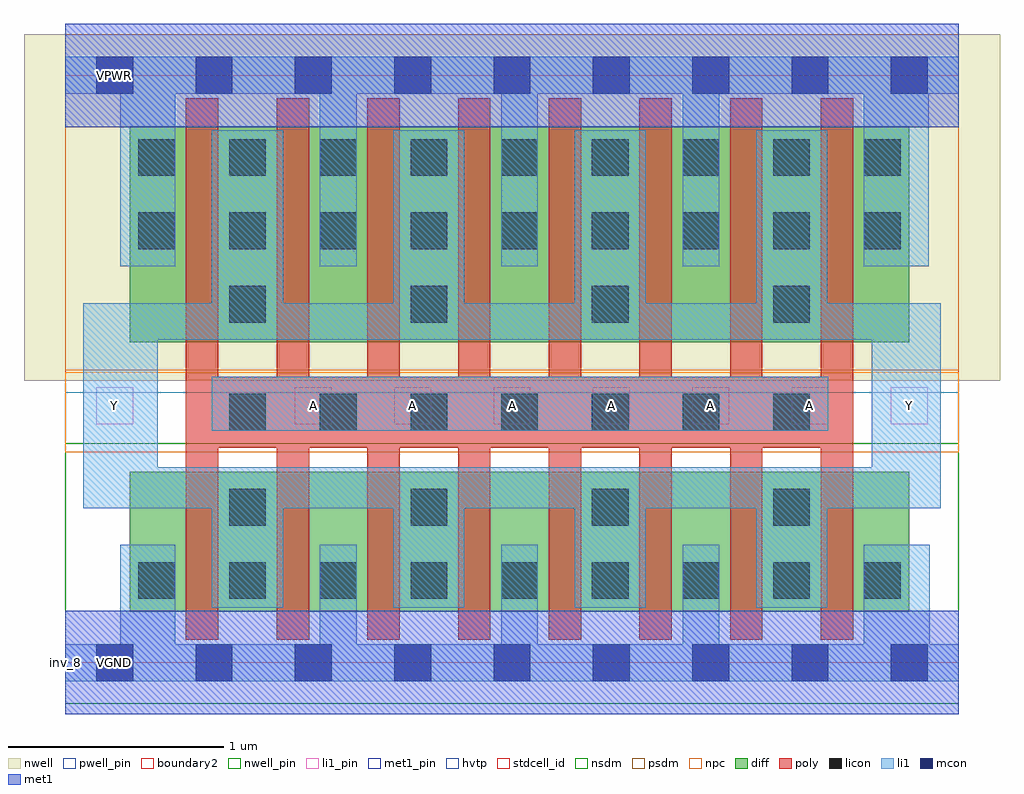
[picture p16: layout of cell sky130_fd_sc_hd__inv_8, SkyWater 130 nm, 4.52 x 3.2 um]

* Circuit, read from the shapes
.subckt sky130_fd_sc_hd__inv_8 A VGND VNB VPB VPWR Y
XM1 Y A VGND VNB sky130_fd_pr__nfet_01v8 w=0.65 l=0.15 m=8
XM2 Y A VPWR VPB sky130_fd_pr__pfet_01v8_hvt w=1 l=0.15 m=8
.ends

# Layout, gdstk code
import gdstk
lib = gdstk.Library(unit=1e-6, precision=1e-09)
def R(c, l, rs):  # rectangles x0, y0, x1, y1
    for r in rs: c.add(gdstk.rectangle(r[:2], r[2:], *l))
def P(c, l, *ps):  # polygons
    for p in ps: c.add(gdstk.Polygon(p, *l))
nwell_pin = (64, 16)
nwell = (64, 20)
diff = (65, 20)
poly = (66, 20)
licon = (66, 44)
li1_pin = (67, 16)
li1 = (67, 20)
mcon = (67, 44)
met1_pin = (68, 16)
met1 = (68, 20)
hvtp = (78, 44)
stdcell_id = (81, 4)
nsdm = (93, 44)
psdm = (94, 20)
npc = (95, 20)
pwell_pin = (122, 16)
boundary2 = (236, 0)

sky130_fd_sc_hd__inv_8 = lib.new_cell('sky130_fd_sc_hd__inv_8')
R(sky130_fd_sc_hd__inv_8, nwell_pin, [(0.145,2.635,0.315,2.805), (0.145,2.635,0.315,2.805)])
R(sky130_fd_sc_hd__inv_8, nwell, [(-0.19,1.305,4.33,2.91), (-0.19,1.305,4.33,2.91)])
R(sky130_fd_sc_hd__inv_8, diff, [(0.3,0.235,3.91,0.885), (0.3,0.235,3.91,0.885), (0.3,1.485,3.91,2.485), (0.3,1.485,3.91,2.485)])
P(sky130_fd_sc_hd__inv_8, poly, [(0.56,0.105),(0.56,2.615),(0.71,2.615),(0.71,1.325),(0.98,1.325),(0.98,2.615),(1.13,2.615),(1.13,1.325),(1.4,1.325),(1.4,2.615),(1.55,2.615),(1.55,1.325),(1.82,1.325),(1.82,2.615),(1.97,2.615),(1.97,1.325),(2.24,1.325),(2.24,2.615),(2.39,2.615),(2.39,1.325),(2.66,1.325),(2.66,2.615),(2.81,2.615),(2.81,1.325),(3.08,1.325),(3.08,2.615),(3.23,2.615),(3.23,1.325),(3.5,1.325),(3.5,2.615),(3.65,2.615),(3.65,0.105),(3.5,0.105),(3.5,0.995),(3.23,0.995),(3.23,0.105),(3.08,0.105),(3.08,0.995),(2.81,0.995),(2.81,0.105),(2.66,0.105),(2.66,0.995),(2.39,0.995),(2.39,0.105),(2.24,0.105),(2.24,0.995),(1.97,0.995),(1.97,0.105),(1.82,0.105),(1.82,0.995),(1.55,0.995),(1.55,0.105),(1.4,0.105),(1.4,0.995),(1.13,0.995),(1.13,0.105),(0.98,0.105),(0.98,0.995),(0.71,0.995),(0.71,0.105)],
  [(0.56,0.105),(0.56,2.615),(0.71,2.615),(0.71,1.325),(0.98,1.325),(0.98,2.615),(1.13,2.615),(1.13,1.325),(1.4,1.325),(1.4,2.615),(1.55,2.615),(1.55,1.325),(1.82,1.325),(1.82,2.615),(1.97,2.615),(1.97,1.325),(2.24,1.325),(2.24,2.615),(2.39,2.615),(2.39,1.325),(2.66,1.325),(2.66,2.615),(2.81,2.615),(2.81,1.325),(3.08,1.325),(3.08,2.615),(3.23,2.615),(3.23,1.325),(3.5,1.325),(3.5,2.615),(3.65,2.615),(3.65,0.105),(3.5,0.105),(3.5,0.995),(3.23,0.995),(3.23,0.105),(3.08,0.105),(3.08,0.995),(2.81,0.995),(2.81,0.105),(2.66,0.105),(2.66,0.995),(2.39,0.995),(2.39,0.105),(2.24,0.105),(2.24,0.995),(1.97,0.995),(1.97,0.105),(1.82,0.105),(1.82,0.995),(1.55,0.995),(1.55,0.105),(1.4,0.105),(1.4,0.995),(1.13,0.995),(1.13,0.105),(0.98,0.105),(0.98,0.995),(0.71,0.995),(0.71,0.105)])
R(sky130_fd_sc_hd__inv_8, licon, [(0.34,0.295,0.51,0.465), (0.34,0.295,0.51,0.465), (0.76,0.295,0.93,0.465), (0.76,0.295,0.93,0.465), (1.18,0.295,1.35,0.465), (1.18,0.295,1.35,0.465), (1.6,0.295,1.77,0.465), (1.6,0.295,1.77,0.465), (2.02,0.295,2.19,0.465), (2.02,0.295,2.19,0.465), (2.44,0.295,2.61,0.465), (2.44,0.295,2.61,0.465), (2.86,0.295,3.03,0.465), (2.86,0.295,3.03,0.465), (3.28,0.295,3.45,0.465), (3.28,0.295,3.45,0.465), (3.7,0.295,3.87,0.465), (3.7,0.295,3.87,0.465), (0.76,0.635,0.93,0.805), (0.76,0.635,0.93,0.805), (1.6,0.635,1.77,0.805), (1.6,0.635,1.77,0.805), (2.44,0.635,2.61,0.805), (2.44,0.635,2.61,0.805), (3.28,0.635,3.45,0.805), (3.28,0.635,3.45,0.805), (0.76,1.075,0.93,1.245), (0.76,1.075,0.93,1.245), (1.18,1.075,1.35,1.245), (1.18,1.075,1.35,1.245), (1.6,1.075,1.77,1.245), (1.6,1.075,1.77,1.245), (2.02,1.075,2.19,1.245), (2.02,1.075,2.19,1.245), (2.44,1.075,2.61,1.245), (2.44,1.075,2.61,1.245), (2.86,1.075,3.03,1.245), (2.86,1.075,3.03,1.245), (3.28,1.075,3.45,1.245), (3.28,1.075,3.45,1.245), (0.76,1.575,0.93,1.745), (0.76,1.575,0.93,1.745), (1.6,1.575,1.77,1.745), (1.6,1.575,1.77,1.745), (2.44,1.575,2.61,1.745), (2.44,1.575,2.61,1.745), (3.28,1.575,3.45,1.745), (3.28,1.575,3.45,1.745), (0.34,1.915,0.51,2.085), (0.34,1.915,0.51,2.085), (0.76,1.915,0.93,2.085), (0.76,1.915,0.93,2.085), (1.18,1.915,1.35,2.085), (1.18,1.915,1.35,2.085), (1.6,1.915,1.77,2.085), (1.6,1.915,1.77,2.085), (2.02,1.915,2.19,2.085), (2.02,1.915,2.19,2.085), (2.44,1.915,2.61,2.085), (2.44,1.915,2.61,2.085), (2.86,1.915,3.03,2.085), (2.86,1.915,3.03,2.085), (3.28,1.915,3.45,2.085), (3.28,1.915,3.45,2.085), (3.7,1.915,3.87,2.085), (3.7,1.915,3.87,2.085), (0.34,2.255,0.51,2.425), (0.34,2.255,0.51,2.425), (0.76,2.255,0.93,2.425), (0.76,2.255,0.93,2.425), (1.18,2.255,1.35,2.425), (1.18,2.255,1.35,2.425), (1.6,2.255,1.77,2.425), (1.6,2.255,1.77,2.425), (2.02,2.255,2.19,2.425), (2.02,2.255,2.19,2.425), (2.44,2.255,2.61,2.425), (2.44,2.255,2.61,2.425), (2.86,2.255,3.03,2.425), (2.86,2.255,3.03,2.425), (3.28,2.255,3.45,2.425), (3.28,2.255,3.45,2.425), (3.7,2.255,3.87,2.425), (3.7,2.255,3.87,2.425)])
R(sky130_fd_sc_hd__inv_8, li1_pin, [(0.145,1.105,0.315,1.275), (0.145,1.105,0.315,1.275), (1.065,1.105,1.235,1.275), (1.065,1.105,1.235,1.275), (1.525,1.105,1.695,1.275), (1.525,1.105,1.695,1.275), (1.985,1.105,2.155,1.275), (1.985,1.105,2.155,1.275), (2.445,1.105,2.615,1.275), (2.445,1.105,2.615,1.275), (2.905,1.105,3.075,1.275), (2.905,1.105,3.075,1.275), (3.365,1.105,3.535,1.275), (3.365,1.105,3.535,1.275), (3.825,1.105,3.995,1.275), (3.825,1.105,3.995,1.275)])
R(sky130_fd_sc_hd__inv_8, li1, [(0.68,1.075,3.535,1.325), (0.68,1.075,3.535,1.325)])
P(sky130_fd_sc_hd__inv_8, li1, [(0.68,0.255),(0.68,0.715),(0.085,0.715),(0.085,1.665),(0.68,1.665),(0.68,2.465),(1.01,2.465),(1.01,1.665),(1.52,1.665),(1.52,2.465),(1.85,2.465),(1.85,1.665),(2.36,1.665),(2.36,2.465),(2.69,2.465),(2.69,1.665),(3.2,1.665),(3.2,2.465),(3.53,2.465),(3.53,1.665),(3.735,1.665),(3.735,1.495),(0.43,1.495),(0.43,0.905),(3.735,0.905),(3.735,1.665),(4.055,1.665),(4.055,0.715),(3.53,0.715),(3.53,0.255),(3.2,0.255),(3.2,0.715),(2.69,0.715),(2.69,0.255),(2.36,0.255),(2.36,0.715),(1.85,0.715),(1.85,0.255),(1.52,0.255),(1.52,0.715),(1.01,0.715),(1.01,0.255)],
  [(0,-0.085),(0,0.085),(0.255,0.085),(0.255,0.545),(0.51,0.545),(0.51,0.085),(1.18,0.085),(1.18,0.545),(1.35,0.545),(1.35,0.085),(2.02,0.085),(2.02,0.545),(2.19,0.545),(2.19,0.085),(2.86,0.085),(2.86,0.545),(3.03,0.545),(3.03,0.085),(3.7,0.085),(3.7,0.545),(4.005,0.545),(4.005,0.085),(4.14,0.085),(4.14,-0.085)],
  [(0.255,1.835),(0.255,2.635),(0,2.635),(0,2.805),(4.14,2.805),(4.14,2.635),(4,2.635),(4,1.835),(3.7,1.835),(3.7,2.635),(3.03,2.635),(3.03,1.835),(2.86,1.835),(2.86,2.635),(2.19,2.635),(2.19,1.835),(2.02,1.835),(2.02,2.635),(1.35,2.635),(1.35,1.835),(1.18,1.835),(1.18,2.635),(0.51,2.635),(0.51,1.835)],
  [(0.68,0.255),(0.68,0.715),(0.085,0.715),(0.085,1.665),(0.68,1.665),(0.68,2.465),(1.01,2.465),(1.01,1.665),(1.52,1.665),(1.52,2.465),(1.85,2.465),(1.85,1.665),(2.36,1.665),(2.36,2.465),(2.69,2.465),(2.69,1.665),(3.2,1.665),(3.2,2.465),(3.53,2.465),(3.53,1.665),(3.735,1.665),(3.735,1.495),(0.43,1.495),(0.43,0.905),(3.735,0.905),(3.735,1.665),(4.055,1.665),(4.055,0.715),(3.53,0.715),(3.53,0.255),(3.2,0.255),(3.2,0.715),(2.69,0.715),(2.69,0.255),(2.36,0.255),(2.36,0.715),(1.85,0.715),(1.85,0.255),(1.52,0.255),(1.52,0.715),(1.01,0.715),(1.01,0.255)],
  [(0,-0.085),(0,0.085),(0.255,0.085),(0.255,0.545),(0.51,0.545),(0.51,0.085),(1.18,0.085),(1.18,0.545),(1.35,0.545),(1.35,0.085),(2.02,0.085),(2.02,0.545),(2.19,0.545),(2.19,0.085),(2.86,0.085),(2.86,0.545),(3.03,0.545),(3.03,0.085),(3.7,0.085),(3.7,0.545),(4.005,0.545),(4.005,0.085),(4.14,0.085),(4.14,-0.085)],
  [(0.255,1.835),(0.255,2.635),(0,2.635),(0,2.805),(4.14,2.805),(4.14,2.635),(4,2.635),(4,1.835),(3.7,1.835),(3.7,2.635),(3.03,2.635),(3.03,1.835),(2.86,1.835),(2.86,2.635),(2.19,2.635),(2.19,1.835),(2.02,1.835),(2.02,2.635),(1.35,2.635),(1.35,1.835),(1.18,1.835),(1.18,2.635),(0.51,2.635),(0.51,1.835)])
R(sky130_fd_sc_hd__inv_8, mcon, [(0.145,-0.085,0.315,0.085), (0.145,-0.085,0.315,0.085), (0.605,-0.085,0.775,0.085), (0.605,-0.085,0.775,0.085), (1.065,-0.085,1.235,0.085), (1.065,-0.085,1.235,0.085), (1.525,-0.085,1.695,0.085), (1.525,-0.085,1.695,0.085), (1.985,-0.085,2.155,0.085), (1.985,-0.085,2.155,0.085), (2.445,-0.085,2.615,0.085), (2.445,-0.085,2.615,0.085), (2.905,-0.085,3.075,0.085), (2.905,-0.085,3.075,0.085), (3.365,-0.085,3.535,0.085), (3.365,-0.085,3.535,0.085), (3.825,-0.085,3.995,0.085), (3.825,-0.085,3.995,0.085), (0.145,2.635,0.315,2.805), (0.145,2.635,0.315,2.805), (0.605,2.635,0.775,2.805), (0.605,2.635,0.775,2.805), (1.065,2.635,1.235,2.805), (1.065,2.635,1.235,2.805), (1.525,2.635,1.695,2.805), (1.525,2.635,1.695,2.805), (1.985,2.635,2.155,2.805), (1.985,2.635,2.155,2.805), (2.445,2.635,2.615,2.805), (2.445,2.635,2.615,2.805), (2.905,2.635,3.075,2.805), (2.905,2.635,3.075,2.805), (3.365,2.635,3.535,2.805), (3.365,2.635,3.535,2.805), (3.825,2.635,3.995,2.805), (3.825,2.635,3.995,2.805)])
R(sky130_fd_sc_hd__inv_8, met1_pin, [(0.145,-0.085,0.315,0.085), (0.145,-0.085,0.315,0.085), (0.145,2.635,0.315,2.805), (0.145,2.635,0.315,2.805)])
R(sky130_fd_sc_hd__inv_8, hvtp, [(0,1.25,4.14,2.72), (0,1.25,4.14,2.72)])
R(sky130_fd_sc_hd__inv_8, stdcell_id, [(0,0,4.14,2.72), (0,0,4.14,2.72)])
R(sky130_fd_sc_hd__inv_8, nsdm, [(0,-0.19,4.14,1.015), (0,-0.19,4.14,1.015)])
R(sky130_fd_sc_hd__inv_8, psdm, [(0,1.355,4.14,2.91), (0,1.355,4.14,2.91)])
R(sky130_fd_sc_hd__inv_8, npc, [(0,0.975,4.14,1.345), (0,0.975,4.14,1.345)])
R(sky130_fd_sc_hd__inv_8, pwell_pin, [(0.145,-0.085,0.315,0.085), (0.145,-0.085,0.315,0.085)])
R(sky130_fd_sc_hd__inv_8, boundary2, [(0,0,4.14,2.72), (0,0,4.14,2.72)])
sky130_fd_sc_hd__inv_8.add(gdstk.FlexPath([(0,2.72),(4.14,2.72)], 0.48, ends="flush", simple_path=True, layer=68, datatype=20))  # met1
sky130_fd_sc_hd__inv_8.add(gdstk.FlexPath([(0,0),(4.14,0)], 0.48, ends="flush", simple_path=True, layer=68, datatype=20))  # met1
sky130_fd_sc_hd__inv_8.add(gdstk.FlexPath([(0,2.72),(4.14,2.72)], 0.48, ends="flush", simple_path=True, layer=68, datatype=20))  # met1
sky130_fd_sc_hd__inv_8.add(gdstk.FlexPath([(0,0),(4.14,0)], 0.48, ends="flush", simple_path=True, layer=68, datatype=20))  # met1
sky130_fd_sc_hd__inv_8.add(gdstk.Label('VGND', (0.23,0), layer=68, texttype=5))
sky130_fd_sc_hd__inv_8.add(gdstk.Label('VPWR', (0.23,2.72), layer=68, texttype=5))
sky130_fd_sc_hd__inv_8.add(gdstk.Label('VGND', (0.23,0), layer=68, texttype=5))
sky130_fd_sc_hd__inv_8.add(gdstk.Label('VPWR', (0.23,2.72), layer=68, texttype=5))
sky130_fd_sc_hd__inv_8.add(gdstk.Label('VPB', (0.23,2.72), layer=64, texttype=5))
sky130_fd_sc_hd__inv_8.add(gdstk.Label('VPB', (0.23,2.72), layer=64, texttype=5))
sky130_fd_sc_hd__inv_8.add(gdstk.Label('VNB', (0.23,0), layer=64, texttype=59))
sky130_fd_sc_hd__inv_8.add(gdstk.Label('VNB', (0.23,0), layer=64, texttype=59))
sky130_fd_sc_hd__inv_8.add(gdstk.Label('A', (1.15,1.19), layer=67, texttype=5))
sky130_fd_sc_hd__inv_8.add(gdstk.Label('A', (1.61,1.19), layer=67, texttype=5))
sky130_fd_sc_hd__inv_8.add(gdstk.Label('A', (2.07,1.19), layer=67, texttype=5))
sky130_fd_sc_hd__inv_8.add(gdstk.Label('A', (2.53,1.19), layer=67, texttype=5))
sky130_fd_sc_hd__inv_8.add(gdstk.Label('A', (2.99,1.19), layer=67, texttype=5))
sky130_fd_sc_hd__inv_8.add(gdstk.Label('A', (3.45,1.19), layer=67, texttype=5))
sky130_fd_sc_hd__inv_8.add(gdstk.Label('Y', (3.91,1.19), layer=67, texttype=5))
sky130_fd_sc_hd__inv_8.add(gdstk.Label('Y', (0.23,1.19), layer=67, texttype=5))
sky130_fd_sc_hd__inv_8.add(gdstk.Label('A', (1.15,1.19), layer=67, texttype=5))
sky130_fd_sc_hd__inv_8.add(gdstk.Label('A', (1.61,1.19), layer=67, texttype=5))
sky130_fd_sc_hd__inv_8.add(gdstk.Label('A', (2.07,1.19), layer=67, texttype=5))
sky130_fd_sc_hd__inv_8.add(gdstk.Label('A', (2.53,1.19), layer=67, texttype=5))
sky130_fd_sc_hd__inv_8.add(gdstk.Label('A', (2.99,1.19), layer=67, texttype=5))
sky130_fd_sc_hd__inv_8.add(gdstk.Label('A', (3.45,1.19), layer=67, texttype=5))
sky130_fd_sc_hd__inv_8.add(gdstk.Label('Y', (3.91,1.19), layer=67, texttype=5))
sky130_fd_sc_hd__inv_8.add(gdstk.Label('Y', (0.23,1.19), layer=67, texttype=5))
sky130_fd_sc_hd__inv_8.add(gdstk.Label('inv_8', (0,0), layer=83, texttype=44))
sky130_fd_sc_hd__inv_8.add(gdstk.Label('inv_8', (0,0), layer=83, texttype=44))

lib.write_gds('sky130_fd_sc_hd__inv_8.gds')
